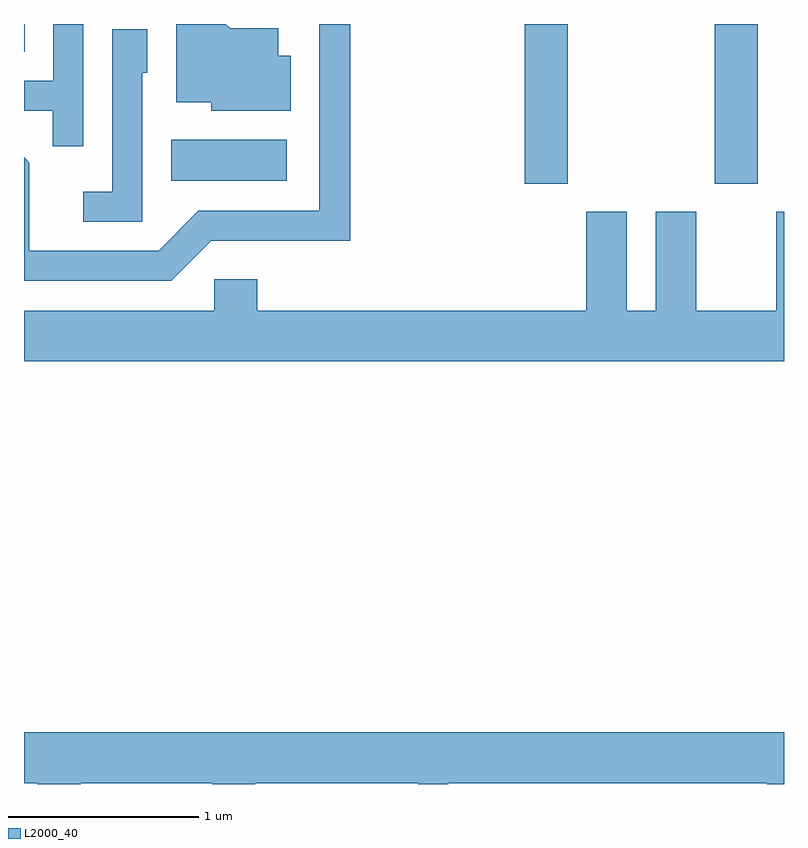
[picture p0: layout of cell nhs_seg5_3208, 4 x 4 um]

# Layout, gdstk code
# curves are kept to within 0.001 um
import gdstk
lib = gdstk.Library(unit=1e-6, precision=1e-09)
def R(c, l, rs):  # rectangles x0, y0, x1, y1
    for r in rs: c.add(gdstk.rectangle(r[:2], r[2:], *l))
def P(c, l, *ps):  # polygons
    for p in ps: c.add(gdstk.Polygon(p, *l))
L2000_40 = (2000, 40)

nhs_seg5_3208 = lib.new_cell('nhs_seg5_3208')
R(nhs_seg5_3208, L2000_40, [(282.246,1513.231,282.474,1514.072), (283.246,1513.231,283.474,1514.072), (280.386,1513.246,280.994,1513.464), (279.611,1513.926,279.614,1514.072)])
P(nhs_seg5_3208, L2000_40, [(281.014,1513.904),(280.949,1513.904),(280.949,1514.049),(280.697,1514.049),(280.674,1514.072),(280.411,1514.072),(280.411,1513.661),(280.596,1513.661),(280.596,1513.616),(281.014,1513.616)],
  [(279.924,1514.072),(279.766,1514.072),(279.766,1513.774),(279.611,1513.774),(279.611,1513.616),(279.761,1513.616),(279.761,1513.428),(279.924,1513.428)],
  [(280.597,1512.931),(281.329,1512.931),(281.329,1514.072),(281.093,1514.072),(281.166,1514.071),(281.166,1513.089),(280.529,1513.089),(280.319,1512.879),(279.639,1512.879),(279.639,1513.342),(279.611,1513.37),(279.611,1512.721),(280.387,1512.721)],
  [(280.234,1513.816),(280.259,1513.816),(280.259,1514.044),(280.076,1514.044),(280.076,1513.189),(279.923,1513.189),(279.923,1513.031),(280.234,1513.031)],
  [(283.611,1513.084),(283.571,1513.084),(283.571,1512.564),(283.149,1512.564),(283.149,1513.084),(282.936,1513.084),(282.936,1512.564),(282.784,1512.564),(282.784,1513.084),(282.571,1513.084),(282.571,1512.564),(280.839,1512.564),(280.839,1512.729),(280.611,1512.729),(280.611,1512.564),(279.611,1512.564),(279.611,1512.296),(283.611,1512.296)],
  [(279.909,1510.076),(280.601,1510.076),(280.601,1510.072),(280.829,1510.072),(280.829,1510.076),(281.686,1510.076),(281.686,1510.072),(281.844,1510.072),(281.844,1510.076),(283.521,1510.076),(283.521,1510.072),(283.611,1510.072),(283.611,1510.344),(279.611,1510.344),(279.611,1510.076),(279.681,1510.076),(279.681,1510.072),(279.909,1510.072)])

lib.write_gds('nhs_seg5_3208.gds')
